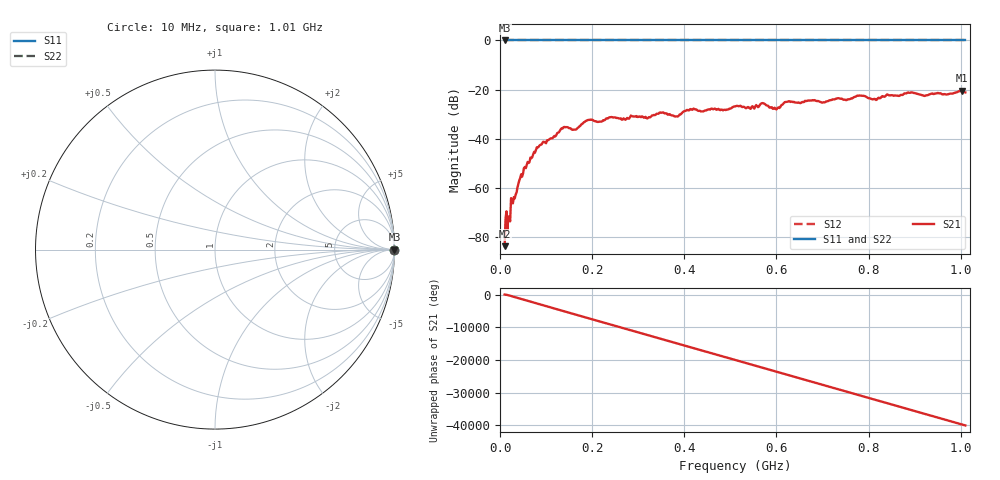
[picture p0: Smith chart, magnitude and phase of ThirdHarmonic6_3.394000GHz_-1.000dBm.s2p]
! 8/17/2025 10:49:29 AM
! C:\ANRITSUVNA\TEMP\TEMP.S2P
! CHANNEL.1
! TR.MEASUREMENT
! RAW.DATA
! RF.CORRECTION.OFF
! AVERAGING.OFF
! IF.BANDWIDTH: 5KHZ
! SWEEPTYPE:  FREQ.SWEEP(Linear)
! Reference Plane Port Info
! PORT:  PORT1  PORT2
! DISTANCE:  0  m  0  m
! TIME:  0  s  0  s
! PHASE.OFFSET:  0  deg.  0  deg.
! LOSS:  0  dB  0  dB
! REF.LOSS:  0  dB  0  dB
! REF.FREQ:  0  Hz  0  Hz
! Power Info
! POWER:  -20  dBm  -20  dBm
! EFF.POWER:  -20  dBm  -20  dBm
! SOURCE.ATTEN:  0  dB  0  dB
! TEST.ATTEN:  0  dB  0  dB
# GHZ S RI R 50.0
! FREQ.GHZ  S11RE  S11IM  S21RE  S21IM  S12RE  S12IM  S22RE  S22IM
!; PortSelection: Port_12
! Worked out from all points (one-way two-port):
!   501 points, 10 MHz to 1.01 GHz, reference 50 ohm
!   highest |S21| = -20.40 dB at 1.002 GHz (marker M1); lowest = -83.6 dB at 10 MHz (marker M2)
!   lowest |S11| = 0.0 dB at 10 MHz (marker M3)
!   |S11| at or under -10 dB: nowhere
!   |S22| runs from 0.0 to 0.0 dB; largest |S21 - S12| = 1.1
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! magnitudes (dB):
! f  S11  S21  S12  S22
! 10 MHz  0.0  -83.6  0.0  0.0
! 42 MHz  0.0  -56.7  0.0  0.0
! 78 MHz  0.0  -44.5  0.0  0.0
! 136 MHz  0.0  -35.8  0.0  0.0
! 162 MHz  0.0  -36.2  0.0  0.0
! 178 MHz  0.0  -33.9  0.0  0.0
! 194 MHz  0.0  -32.3  0.0  0.0
! 344 MHz  0.0  -29.8  0.0  0.0
! 382 MHz  0.0  -30.8  0.0  0.0
! 416 MHz  0.0  -28.1  0.0  0.0
! 510 MHz  0.0  -26.8  0.0  0.0
! 548 MHz  0.0  -26.7  0.0  0.0
! 570 MHz  0.0  -25.4  0.0  0.0
! 596 MHz  0.0  -27.3  0.0  0.0
! 622 MHz  0.0  -24.9  0.0  0.0
! 678 MHz  0.0  -24.2  0.0  0.0
! 702 MHz  0.0  -25.1  0.0  0.0
! 780 MHz  0.0  -22.4  0.0  0.0
! 814 MHz  0.0  -23.8  0.0  0.0
! 844 MHz  0.0  -22.3  0.0  0.0
! 1.002 GHz  0.0  -20.4  0.0  0.0
! 1.01 GHz  0.0  -21.1  0.0  0.0
